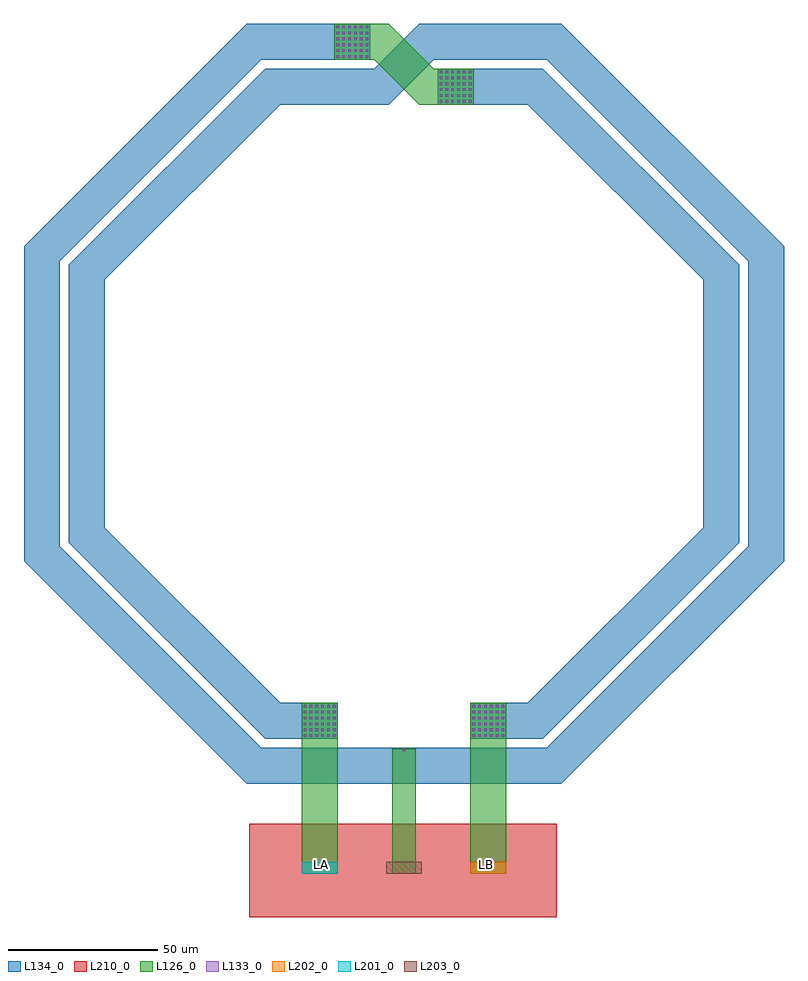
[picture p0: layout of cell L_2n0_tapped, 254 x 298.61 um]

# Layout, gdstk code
import gdstk
lib = gdstk.Library(unit=1e-6, precision=5e-09)
def R(c, l, rs):  # rectangles x0, y0, x1, y1
    for r in rs: c.add(gdstk.rectangle(r[:2], r[2:], *l))
def A(c, l, x, y, w, h, nx, ny, dx, dy):  # array of equal rectangles
    R(c, l, [(x+i*dx, y+j*dy, x+i*dx+w, y+j*dy+h) for i in range(nx) for j in range(ny)])
def P(c, l, *ps):  # polygons
    for p in ps: c.add(gdstk.Polygon(p, *l))
L126_0 = (126, 0)
L133_0 = (133, 0)
L134_0 = (134, 0)
L201_0 = (201, 0)
L202_0 = (202, 0)
L203_0 = (203, 0)
L210_0 = (210, 0)

l_2n0_tapped = lib.new_cell('L_2n0_tapped')
R(l_2n0_tapped, L126_0, [(-34.2,0,-22.2,57), (-4,0,4,41.75), (22.2,0,34.2,57)])
P(l_2n0_tapped, L126_0, [(5.015,257),(-9.985,272),(-23.23,272),(-23.23,284),(-5.015,284),(9.985,269),(23.23,269),(23.23,257)])
A(l_2n0_tapped, L133_0, -33.555, 45.645, 0.9, 0.9, 6, 6, 1.96, 1.96)
A(l_2n0_tapped, L133_0, 22.845, 45.645, 0.9, 0.9, 6, 6, 1.96, 1.96)
A(l_2n0_tapped, L133_0, 11.875, 257.645, 0.9, 0.9, 6, 6, 1.96, 1.96)
A(l_2n0_tapped, L133_0, -22.585, 272.645, 0.9, 0.9, 6, 6, 1.96, 1.96)
R(l_2n0_tapped, L133_0, [(-0.45,40.85,0.45,41.75)])
P(l_2n0_tapped, L134_0, [(22.2,45),(22.2,57),(41.425,57),(100,115.575),(100,198.425),(41.425,257),(11.23,257),(11.23,269),(46.395,269),(112,203.395),(112,110.605),(46.395,45)],
  [(-52.605,30),(-127,104.395),(-127,209.605),(-52.605,284),(-11.23,284),(-11.23,272),(-47.635,272),(-115,204.635),(-115,109.365),(-47.635,42),(47.635,42),(115,109.365),(115,204.635),(47.635,272),(9.985,272),(-5.015,257),(-41.425,257),(-100,198.425),(-100,115.575),(-41.425,57),(-22.2,57),(-22.2,45),(-46.395,45),(-112,110.605),(-112,203.395),(-46.395,269),(-9.985,269),(5.015,284),(52.605,284),(127,209.605),(127,104.395),(52.605,30)])
R(l_2n0_tapped, L201_0, [(-34.2,0,-22.2,4)])
R(l_2n0_tapped, L202_0, [(22.18,0,34.2,4)])
R(l_2n0_tapped, L203_0, [(-6,0,6,4)])
R(l_2n0_tapped, L210_0, [(-51.65,-14.61,51.13,16.7)])
l_2n0_tapped.add(gdstk.Label('LB', (27.5,3), layer=63, texttype=0))
l_2n0_tapped.add(gdstk.Label('LA', (-27.5,3), layer=63, texttype=0))

lib.write_gds('L_2n0_tapped.gds')
